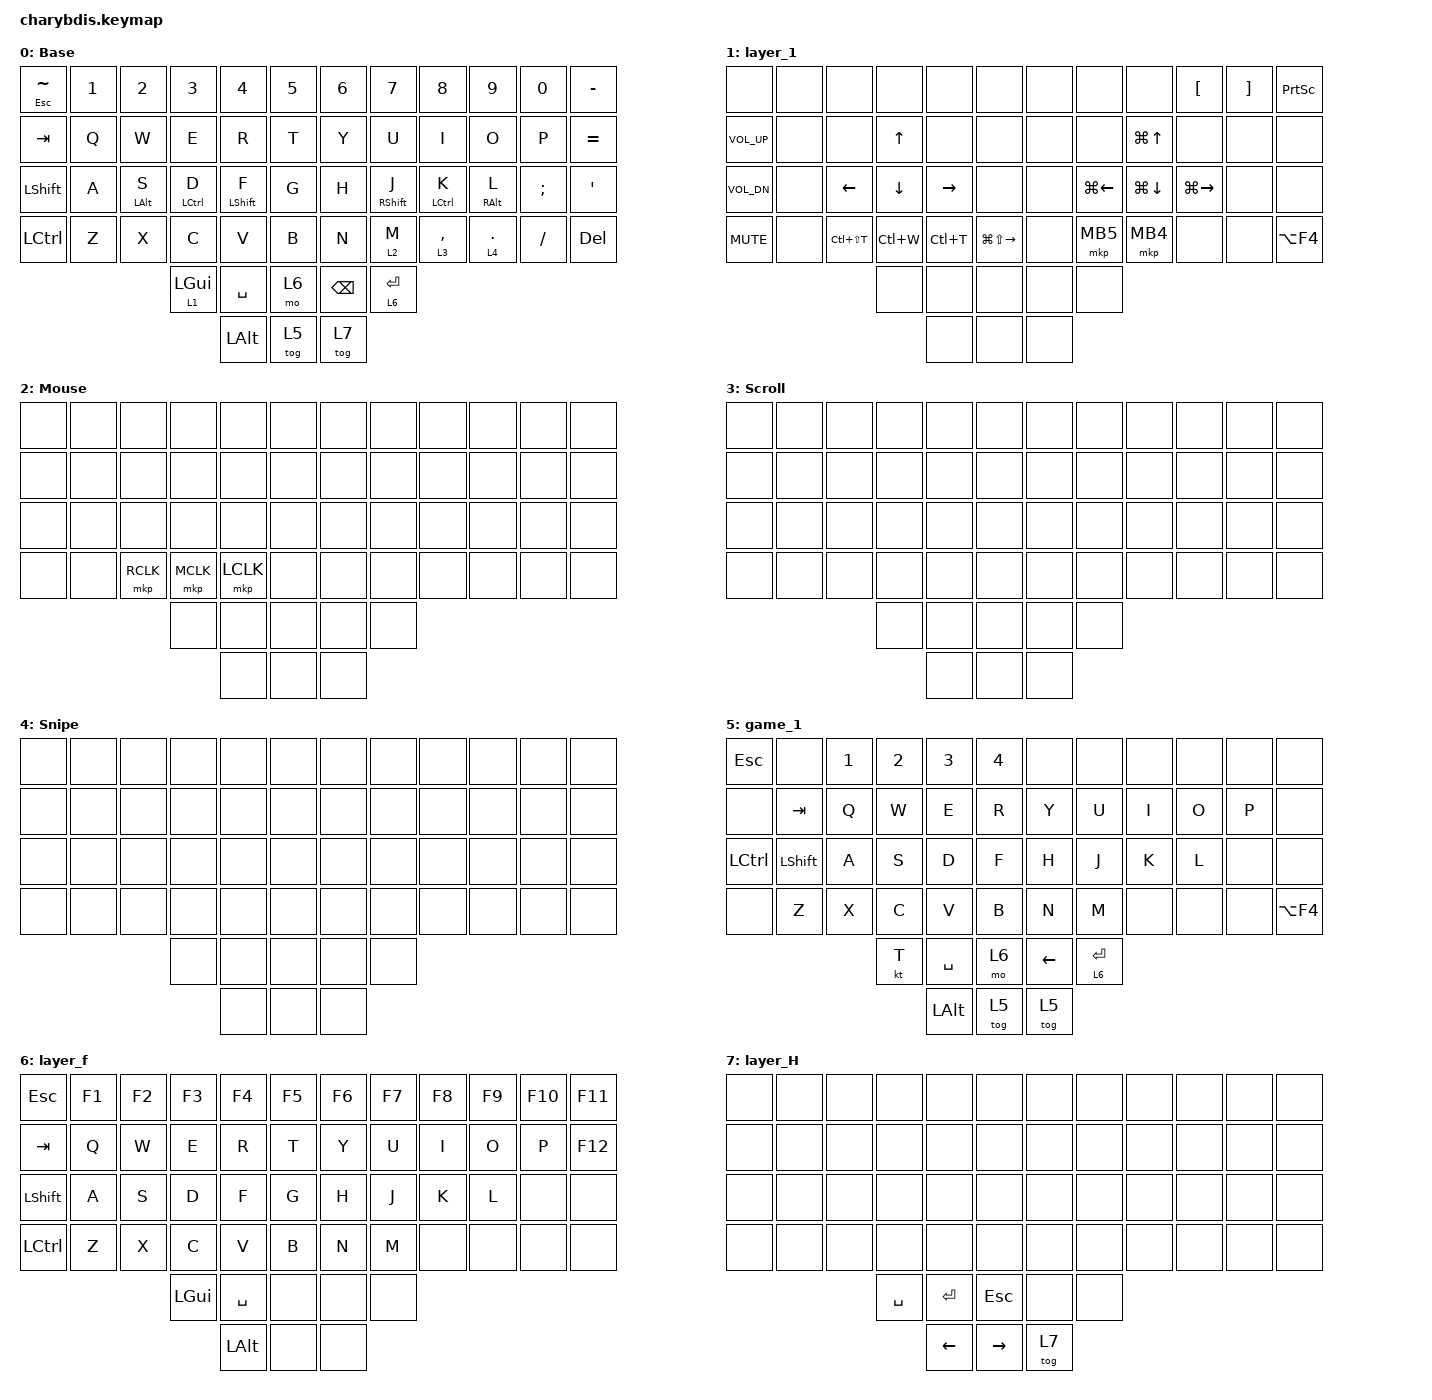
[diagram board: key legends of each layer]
#include <behaviors/mouse_keys.dtsi>
#include <dt-bindings/zmk/mouse.h>
#include <behaviors.dtsi>
#include <dt-bindings/zmk/keys.h>

&lt {
    tapping-term-ms = <240>;
    flavor = "tap-preferred";
    quick-tap-ms = <150>;
    require-prior-idle-ms = <10>;
};

&mt {
    tapping-term-ms = <250>;
    flavor = "tap-preferred";
    require-prior-idle-ms = <250>;
};

/ {
    combos {
        compatible = "zmk,combos";

        b {
            bindings = <&kp B>;
            key-positions = <42 43>;
        };

        copy {
            bindings = <&kp LC(C)>;
            key-positions = <38 39>;
        };

        paste {
            bindings = <&kp LC(V)>;
            key-positions = <39 40>;
        };
    };

    keymap {
        compatible = "zmk,keymap";

        Base {
            bindings = <
&mt ESC TILDE  &kp N1  &kp N2          &kp N3              &kp N4            &kp N5    &kp N6         &kp N7             &kp N8              &kp N9           &kp N0     &kp MINUS
&kp TAB        &kp Q   &kp W           &kp E               &kp R             &kp T     &kp Y          &kp U              &kp I               &kp O            &kp P      &kp EQUAL
&kp LSHFT      &kp A   &mt LEFT_ALT S  &mt LEFT_CONTROL D  &mt LEFT_SHIFT F  &kp G     &kp H          &mt RIGHT_SHIFT J  &mt LEFT_CONTROL K  &mt RIGHT_ALT L  &kp SEMI   &kp APOS
&kp LCTRL      &kp Z   &kp X           &kp C               &kp V             &kp B     &kp N          &lt 2 M            &lt 3 COMMA         &lt 4 PERIOD     &kp SLASH  &kp DELETE
                                       &lt 1 LEFT_GUI      &kp SPACE         &mo 6     &kp BACKSPACE  &lt 6 ENTER
                                                           &kp LEFT_ALT      &tog 5    &tog 7
            >;
        };

        layer_1 {
            bindings = <
&none         &none  &none          &none      &none      &none                &none  &none               &none               &kp LEFT_BRACKET     &kp RIGHT_BRACKET  &kp PRINTSCREEN
&kp C_VOL_UP  &none  &none          &kp UP     &none      &none                &none  &none               &kp LG(UP_ARROW)    &none                &none              &none
&kp C_VOL_DN  &none  &kp LEFT       &kp DOWN   &kp RIGHT  &none                &none  &kp LG(LEFT_ARROW)  &kp LG(DOWN_ARROW)  &kp LG(RIGHT_ARROW)  &none              &none
&kp K_MUTE    &none  &kp LC(LS(T))  &kp LC(W)  &kp LC(T)  &kp LG(LS(RIGHT))    &none  &mkp MB5            &mkp MB4            &none                &none              &kp LA(F4)
                                    &none      &none      &none                &none  &none
                                               &none      &none                &none
            >;
        };

        Mouse {
            bindings = <
&none  &none  &none      &none      &none      &none    &none  &none  &none  &none  &none  &none
&none  &none  &none      &none      &none      &none    &none  &none  &none  &none  &none  &none
&none  &none  &none      &none      &none      &none    &none  &none  &none  &none  &none  &none
&none  &none  &mkp RCLK  &mkp MCLK  &mkp LCLK  &none    &none  &none  &none  &none  &none  &none
                         &none      &none      &none    &none  &none
                                    &none      &none    &none
            >;
        };

        Scroll {
            bindings = <
&none  &none  &none  &none  &none  &none    &none  &none  &none  &none  &none  &none
&none  &none  &none  &none  &none  &none    &none  &none  &none  &none  &none  &none
&none  &none  &none  &none  &none  &none    &none  &none  &none  &none  &none  &none
&none  &none  &none  &none  &none  &none    &none  &none  &none  &none  &none  &none
                     &none  &none  &none    &none  &none
                            &none  &none    &none
            >;
        };

        Snipe {
            bindings = <
&none  &none  &none  &none  &none  &none    &none  &none  &none  &none  &none  &none
&none  &none  &none  &none  &none  &none    &none  &none  &none  &none  &none  &none
&none  &none  &none  &none  &none  &none    &none  &none  &none  &none  &none  &none
&none  &none  &none  &none  &none  &none    &none  &none  &none  &none  &none  &none
                     &none  &none  &none    &none  &none
                            &none  &none    &none
            >;
        };

        game_1 {
            bindings = <
&kp ESC           &none           &kp N1  &kp N2  &kp N3        &kp N4    &none     &none        &none  &none  &none  &none
&none             &kp TAB         &kp Q   &kp W   &kp E         &kp R     &kp Y     &kp U        &kp I  &kp O  &kp P  &none
&kp LEFT_CONTROL  &kp LEFT_SHIFT  &kp A   &kp S   &kp D         &kp F     &kp H     &kp J        &kp K  &kp L  &none  &none
&none             &kp Z           &kp X   &kp C   &kp V         &kp B     &kp N     &kp M        &none  &none  &none  &kp LA(F4)
                                          &kt T   &kp SPACE     &mo 6     &kp LEFT  &lt 6 ENTER
                                                  &kp LEFT_ALT  &tog 5    &tog 5
            >;
        };

        layer_f {
            bindings = <
&kp ESC    &kp F1  &kp F2  &kp F3    &kp F4     &kp F5    &kp F6  &kp F7  &kp F8  &kp F9  &kp F10  &kp F11
&kp TAB    &kp Q   &kp W   &kp E     &kp R      &kp T     &kp Y   &kp U   &kp I   &kp O   &kp P    &kp F12
&kp LSHFT  &kp A   &kp S   &kp D     &kp F      &kp G     &kp H   &kp J   &kp K   &kp L   &none    &none
&kp LCTRL  &kp Z   &kp X   &kp C     &kp V      &kp B     &kp N   &kp M   &none   &none   &none    &none
                           &kp LGUI  &kp SPACE  &none     &none   &none
                                     &kp LALT   &none     &none
            >;
        };

        layer_H {
            bindings = <
&none  &none  &none  &none      &none      &none        &none   &none  &none  &none  &none  &none
&none  &none  &none  &none      &none      &none        &none   &none  &none  &none  &none  &none
&none  &none  &none  &none      &none      &none        &none   &none  &none  &none  &none  &none
&none  &none  &none  &none      &none      &none        &none   &none  &none  &none  &none  &none
                     &kp SPACE  &kp ENTER  &kp ESC      &none   &none
                                &kp LEFT   &kp RIGHT    &tog 7
            >;
        };
    };
};
